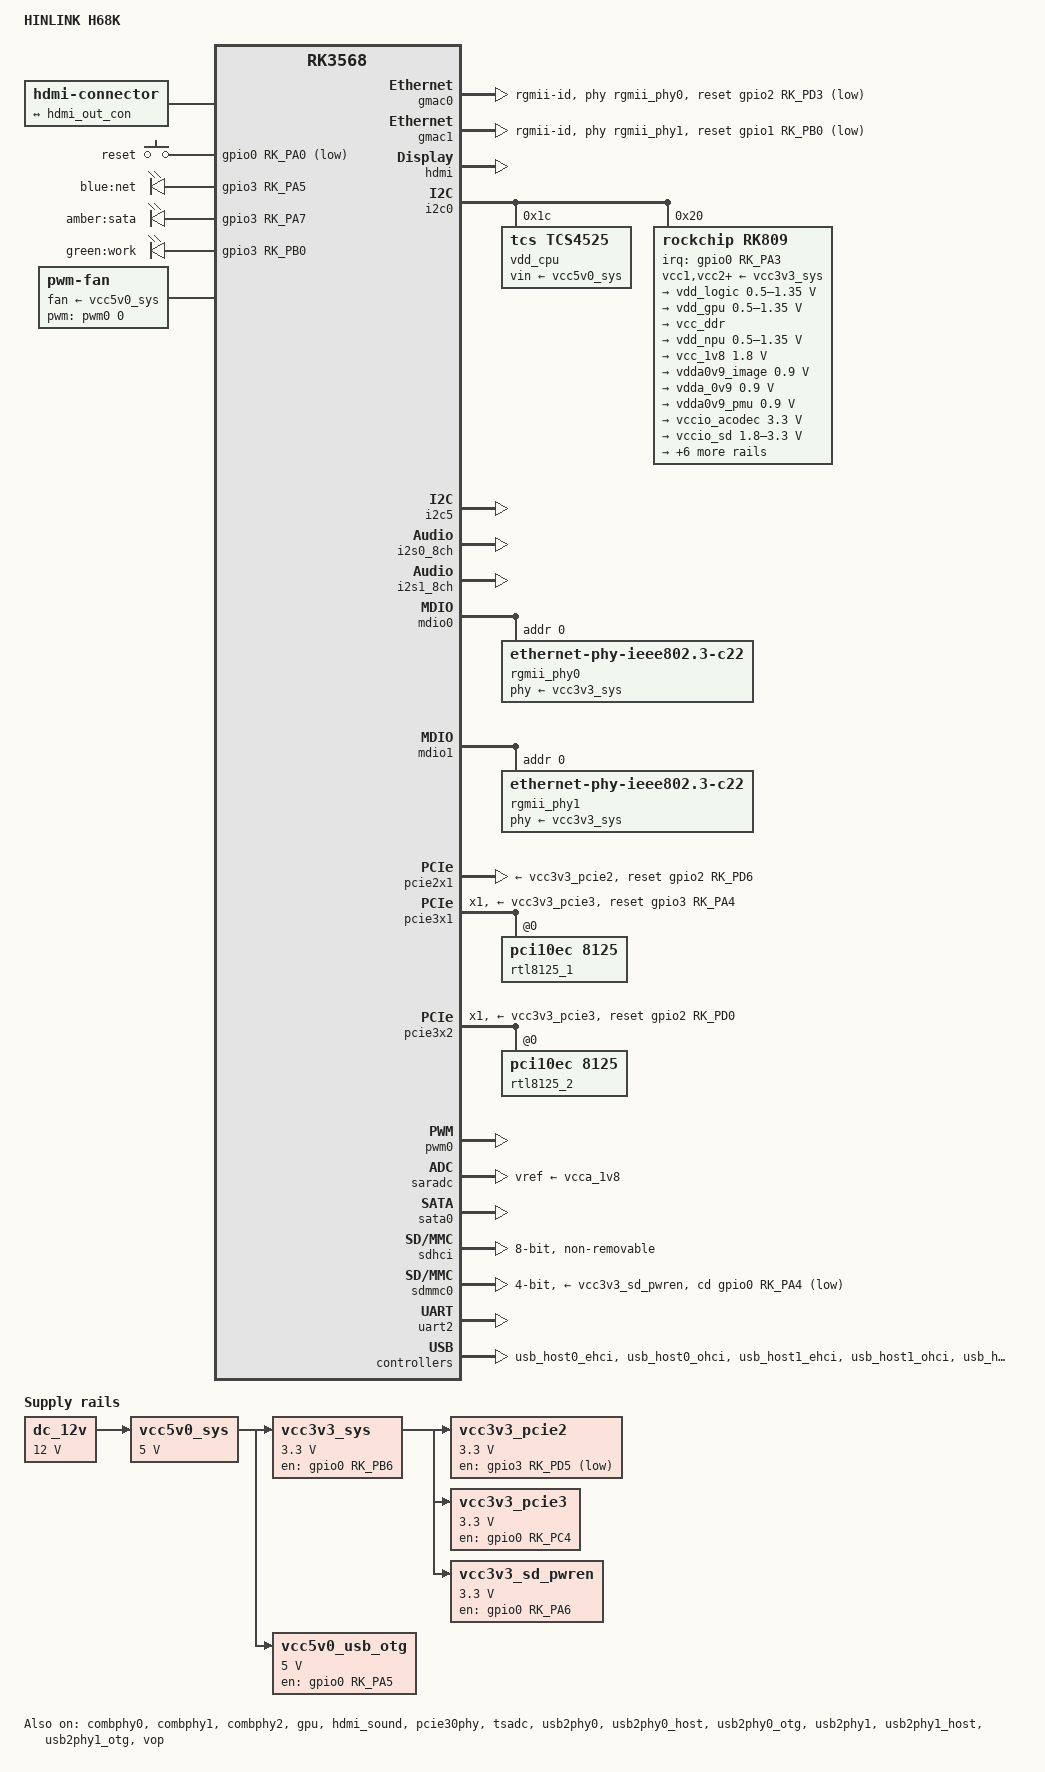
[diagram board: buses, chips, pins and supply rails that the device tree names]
// SPDX-License-Identifier: (GPL-2.0+ OR MIT)
// Copyright (c) 2022 AmadeusGhost <amadeus@jmu.edu.cn>
// Copyright (c) 2023 amazingfate <liujianfeng1994@gmail.com>

/dts-v1/;

#include <dt-bindings/gpio/gpio.h>
#include <dt-bindings/leds/common.h>
#include <dt-bindings/input/input.h>
#include <dt-bindings/pinctrl/rockchip.h>
#include <dt-bindings/soc/rockchip,vop2.h>
#include "rk3568.dtsi"

/ {
	model = "HINLINK H68K";
	compatible = "hinlink,h68k", "rockchip,rk3568";

	aliases {
		ethernet0 = &gmac0;
		ethernet1 = &gmac1;
		mmc0 = &sdhci;
		mmc1 = &sdmmc0;

		led-boot = &led_work;
		led-failsafe = &led_work;
		led-running = &led_work;
		led-upgrade = &led_work;
	};

	chosen: chosen {
		stdout-path = "serial2:1500000n8";
	};

	hdmi-con {
		compatible = "hdmi-connector";
		type = "a";

		port {
			hdmi_con_in: endpoint {
				remote-endpoint = <&hdmi_out_con>;
			};
		};
	};

	keys {
		compatible = "gpio-keys";
		pinctrl-0 = <&reset_button_pin>;
		pinctrl-names = "default";

		reset {
			label = "reset";
			gpios = <&gpio0 RK_PA0 GPIO_ACTIVE_LOW>;
			linux,code = <KEY_RESTART>;
			debounce-interval = <50>;
		};
	};

	leds {
		compatible = "gpio-leds";
		pinctrl-names = "default";
		pinctrl-0 = <&led_net_en>, <&led_sata_en>, <&led_work_en>;

		led_net: net {
			label = "blue:net";
			gpios = <&gpio3 RK_PA5 GPIO_ACTIVE_HIGH>;
		};

		led_sata: sata {
			label = "amber:sata";
			gpios = <&gpio3 RK_PA7 GPIO_ACTIVE_HIGH>;
		};

		led_work: work {
			label = "green:work";
			gpios = <&gpio3 RK_PB0 GPIO_ACTIVE_HIGH>;
		};
	};

	dc_12v: dc-12v-regulator {
		compatible = "regulator-fixed";
		regulator-name = "dc_12v";
		regulator-always-on;
		regulator-boot-on;
		regulator-min-microvolt = <12000000>;
		regulator-max-microvolt = <12000000>;
	};

	vcc5v0_sys: vcc5v0-sys-regulator {
		compatible = "regulator-fixed";
		regulator-name = "vcc5v0_sys";
		regulator-always-on;
		regulator-boot-on;
		regulator-min-microvolt = <5000000>;
		regulator-max-microvolt = <5000000>;
		vin-supply = <&dc_12v>;
	};

	vcc3v3_sys: vcc3v3-sys-regulator {
		compatible = "regulator-fixed";
		regulator-name = "vcc3v3_sys";
		regulator-always-on;
		regulator-boot-on;
		regulator-min-microvolt = <3300000>;
		regulator-max-microvolt = <3300000>;

		enable-active-high;
		gpio = <&gpio0 RK_PB6 GPIO_ACTIVE_HIGH>;
		pinctrl-names = "default";
		pinctrl-0 = <&vcc3v3_sys_en>;

		vin-supply = <&vcc5v0_sys>;
	};

	/* wifi power
	   for H68K-MAX & H69K-MAX
	 */
	vcc3v3_pcie2: vcc3v3-pcie2-regulator {
		compatible = "regulator-fixed";
		regulator-min-microvolt = <3300000>;
		regulator-max-microvolt = <3300000>;
		regulator-name = "vcc3v3_pcie2";
		regulator-boot-on;

		gpio = <&gpio3 RK_PD5 GPIO_ACTIVE_LOW>;

		pinctrl-names = "default";
		pinctrl-0 = <&vcc3v3_pcie2_en>;
		vin-supply = <&vcc3v3_sys>;
	};

	/* eth 2.5g power
	   for H66K H69K
	 */
	vcc3v3_pcie3: vcc3v3-pcie3-regulator {
		compatible = "regulator-fixed";
		regulator-min-microvolt = <3300000>;
		regulator-max-microvolt = <3300000>;
		regulator-name = "vcc3v3_pcie3";
		regulator-boot-on;

		enable-active-high;
		gpio = <&gpio0 RK_PC4 GPIO_ACTIVE_HIGH>;

		pinctrl-names = "default";
		pinctrl-0 = <&vcc3v3_pcie3_en>;
		vin-supply = <&vcc3v3_sys>;
	};

	vcc5v0_usb_otg: vcc5v0-usb-otg-regulator {
		compatible = "regulator-fixed";

		regulator-name = "vcc5v0_usb_otg";
		regulator-min-microvolt = <5000000>;
		regulator-max-microvolt = <5000000>;

		enable-active-high;
		gpio = <&gpio0 RK_PA5 GPIO_ACTIVE_HIGH>;
		pinctrl-names = "default";
		pinctrl-0 = <&vcc5v0_usb_otg_en>;

		vin-supply = <&vcc5v0_sys>;

	};

	vcc3v3_sd_pwren: vcc3v3-sd-pwren-regulator {
		compatible = "regulator-fixed";

		regulator-name = "vcc3v3_sd_pwren";
		regulator-min-microvolt = <3300000>;
		regulator-max-microvolt = <3300000>;
		regulator-boot-on;
		regulator-always-on;

		enable-active-high;
		gpio = <&gpio0 RK_PA6 GPIO_ACTIVE_HIGH>;	/*      SD_PWREN	*/
		vin-supply = <&vcc3v3_sys>;

		pinctrl-names = "default";
		pinctrl-0 = <&vcc3v3_sd_en>;
	};

	rk809-sound {
		compatible = "simple-audio-card";
		simple-audio-card,format = "i2s";
		simple-audio-card,name = "Analog RK809";
		simple-audio-card,mclk-fs = <256>;

		simple-audio-card,cpu {
			sound-dai = <&i2s1_8ch>;
		};
		simple-audio-card,codec {
			sound-dai = <&rk809>;
		};
	};

 	fan: pwm-fan {
 		compatible = "pwm-fan";
		cooling-levels = <0 127 163 255>;
 		#cooling-cells = <2>;
 		fan-supply = <&vcc5v0_sys>;
 		pwms = <&pwm0 0 50000 0>;
	};
};

&combphy0 {
	status = "okay";
};

&combphy1 {
	status = "okay";
};

&combphy2 {
	status = "okay";
};

&cpu0 {
	cpu-supply = <&vdd_cpu>;
};

&cpu1 {
	cpu-supply = <&vdd_cpu>;
};

&cpu2 {
	cpu-supply = <&vdd_cpu>;
};

&cpu3 {
	cpu-supply = <&vdd_cpu>;
};

&cpu_thermal {
	trips {
		cpu_cool: cpu_cool {
			temperature = <45000>;
			hysteresis = <2000>;
			type = "active";
		};

		cpu_warm: cpu_warm {
			temperature = <55000>;
			hysteresis = <2000>;
			type = "active";
		};

		cpu_hot: cpu_hot {
			temperature = <65000>;
			hysteresis = <2000>;
			type = "active";
		};
	};

	cooling-maps {
		map1 {
			trip = <&cpu_cool>;
			cooling-device = <&fan THERMAL_NO_LIMIT 1>;
		};

		map2 {
			trip = <&cpu_warm>;
			cooling-device = <&fan 2 THERMAL_NO_LIMIT>;
		};

		map3 {
			trip = <&cpu_hot>;
			cooling-device = <&fan 3 THERMAL_NO_LIMIT>;
		};
	};
};

&gmac0 {
	assigned-clocks = <&cru SCLK_GMAC0_RX_TX>, <&cru SCLK_GMAC0>;
	assigned-clock-parents = <&cru SCLK_GMAC0_RGMII_SPEED>;
	assigned-clock-rates = <0>, <125000000>;
	clock_in_out = "input";
	phy-mode = "rgmii-id";
	pinctrl-names = "default";
	pinctrl-0 = <&gmac0_miim
		     &gmac0_tx_bus2
		     &gmac0_rx_bus2
		     &gmac0_rgmii_clk
		     &gmac0_rgmii_bus>;
	snps,reset-gpio = <&gpio2 RK_PD3 GPIO_ACTIVE_LOW>;
	snps,reset-active-low;
	snps,reset-delays-us = <0 50000 200000>;
	tx_delay = <0x3c>;
	rx_delay = <0x2f>;
	phy-handle = <&rgmii_phy0>;
	status = "okay";
};

&gmac1 {
	assigned-clocks = <&cru SCLK_GMAC1_RX_TX>, <&cru SCLK_GMAC1>;
	assigned-clock-parents = <&cru SCLK_GMAC1_RGMII_SPEED>;
	assigned-clock-rates = <0>, <125000000>;
	clock_in_out = "input";
	phy-mode = "rgmii-id";
	pinctrl-names = "default";
	pinctrl-0 = <&gmac1m1_miim
		     &gmac1m1_tx_bus2
		     &gmac1m1_rx_bus2
		     &gmac1m1_rgmii_clk
		     &gmac1m1_rgmii_bus>;
	snps,reset-gpio = <&gpio1 RK_PB0 GPIO_ACTIVE_LOW>;
	snps,reset-active-low;
	snps,reset-delays-us = <0 50000 200000>;
	tx_delay = <0x3c>;
	rx_delay = <0x2f>;
	phy-handle = <&rgmii_phy1>;
	status = "okay";
};

&gpu {
	mali-supply = <&vdd_gpu>;
	status = "okay";
};

&hdmi {
	avdd-0v9-supply = <&vdda0v9_image>;
	avdd-1v8-supply = <&vcca1v8_image>;
	status = "okay";
};

&hdmi_in {
	hdmi_in_vp0: endpoint {
		remote-endpoint = <&vp0_out_hdmi>;
	};
};

&hdmi_out {
	hdmi_out_con: endpoint {
		remote-endpoint = <&hdmi_con_in>;
	};
};

&hdmi_sound {
	status = "okay";
};

&i2c0 {
	status = "okay";

	vdd_cpu: regulator@1c {
		compatible = "tcs,tcs4525";
		reg = <0x1c>;
		fcs,suspend-voltage-selector = <1>;
		regulator-name = "vdd_cpu";
		regulator-always-on;
		regulator-boot-on;
		regulator-min-microvolt = <800000>;
		regulator-max-microvolt = <1150000>;
		regulator-ramp-delay = <2300>;
		vin-supply = <&vcc5v0_sys>;

		regulator-state-mem {
			regulator-off-in-suspend;
		};
	};

	rk809: pmic@20 {
		compatible = "rockchip,rk809";
		reg = <0x20>;

		interrupt-parent = <&gpio0>;
		interrupts = <RK_PA3 IRQ_TYPE_LEVEL_LOW>;

		assigned-clocks = <&cru I2S1_MCLKOUT_TX>;
		assigned-clock-parents = <&cru CLK_I2S1_8CH_TX>;
		#sound-dai-cells = <0>;

		#clock-cells = <1>;
		clock-names = "mclk";
		clocks = <&cru I2S1_MCLKOUT_TX>;

		pinctrl-names = "default";
		pinctrl-0 = <&pmic_int>, <&i2s1m0_mclk>;

		rockchip,system-power-controller;
		wakeup-source;

		vcc1-supply = <&vcc3v3_sys>;
		vcc2-supply = <&vcc3v3_sys>;
		vcc3-supply = <&vcc3v3_sys>;
		vcc4-supply = <&vcc3v3_sys>;
		vcc5-supply = <&vcc3v3_sys>;
		vcc6-supply = <&vcc3v3_sys>;
		vcc7-supply = <&vcc3v3_sys>;
		vcc8-supply = <&vcc3v3_sys>;
		vcc9-supply = <&vcc3v3_sys>;

		pwrkey {
			status = "okay";
		};

		pinctrl_rk8xx: pinctrl_rk8xx {
			gpio-controller;
			#gpio-cells = <2>;

			rk817_slppin_null: rk817_slppin_null {
				pins = "gpio_slp";
				function = "pin_fun0";
			};

			rk817_slppin_slp: rk817_slppin_slp {
				pins = "gpio_slp";
				function = "pin_fun1";
			};

			rk817_slppin_pwrdn: rk817_slppin_pwrdn {
				pins = "gpio_slp";
				function = "pin_fun2";
			};

			rk817_slppin_rst: rk817_slppin_rst {
				pins = "gpio_slp";
				function = "pin_fun3";
			};
		};

		regulators {
			vdd_logic: DCDC_REG1 {
				regulator-name = "vdd_logic";
				regulator-always-on;
				regulator-boot-on;
				regulator-init-microvolt = <900000>;
				regulator-initial-mode = <0x2>;
				regulator-min-microvolt = <500000>;
				regulator-max-microvolt = <1350000>;
				regulator-ramp-delay = <6001>;

				regulator-state-mem {
					regulator-off-in-suspend;
				};
			};

			vdd_gpu: DCDC_REG2 {
				regulator-name = "vdd_gpu";
				regulator-always-on;
				regulator-init-microvolt = <900000>;
				regulator-initial-mode = <0x2>;
				regulator-min-microvolt = <500000>;
				regulator-max-microvolt = <1350000>;
				regulator-ramp-delay = <6001>;

				regulator-state-mem {
					regulator-off-in-suspend;
				};
			};

			vcc_ddr: DCDC_REG3 {
				regulator-name = "vcc_ddr";
				regulator-always-on;
				regulator-boot-on;
				regulator-initial-mode = <0x2>;

				regulator-state-mem {
					regulator-on-in-suspend;
				};
			};

			vdd_npu: DCDC_REG4 {
				regulator-name = "vdd_npu";
				regulator-init-microvolt = <900000>;
				regulator-initial-mode = <0x2>;
				regulator-min-microvolt = <500000>;
				regulator-max-microvolt = <1350000>;
				regulator-ramp-delay = <6001>;

				regulator-state-mem {
					regulator-off-in-suspend;
				};
			};

			vcc_1v8: DCDC_REG5 {
				regulator-name = "vcc_1v8";
				regulator-always-on;
				regulator-boot-on;
				regulator-min-microvolt = <1800000>;
				regulator-max-microvolt = <1800000>;

				regulator-state-mem {
					regulator-off-in-suspend;
				};
			};

			vdda0v9_image: LDO_REG1 {
				regulator-name = "vdda0v9_image";
				regulator-min-microvolt = <900000>;
				regulator-max-microvolt = <900000>;

				regulator-state-mem {
					regulator-off-in-suspend;
				};
			};

			vdda_0v9: LDO_REG2 {
				regulator-name = "vdda_0v9";
				regulator-always-on;
				regulator-boot-on;
				regulator-min-microvolt = <900000>;
				regulator-max-microvolt = <900000>;

				regulator-state-mem {
					regulator-off-in-suspend;
				};
			};

			vdda0v9_pmu: LDO_REG3 {
				regulator-name = "vdda0v9_pmu";
				regulator-always-on;
				regulator-boot-on;
				regulator-min-microvolt = <900000>;
				regulator-max-microvolt = <900000>;

				regulator-state-mem {
					regulator-on-in-suspend;
					regulator-suspend-microvolt = <900000>;
				};
			};

			vccio_acodec: LDO_REG4 {
				regulator-name = "vccio_acodec";
				regulator-always-on;
				regulator-min-microvolt = <3300000>;
				regulator-max-microvolt = <3300000>;

				regulator-state-mem {
					regulator-off-in-suspend;
				};
			};

			vccio_sd: LDO_REG5 {
				regulator-name = "vccio_sd";
				regulator-min-microvolt = <1800000>;
				regulator-max-microvolt = <3300000>;

				regulator-state-mem {
					regulator-off-in-suspend;
				};
			};

			vcc3v3_pmu: LDO_REG6 {
				regulator-name = "vcc3v3_pmu";
				regulator-always-on;
				regulator-boot-on;
				regulator-min-microvolt = <3300000>;
				regulator-max-microvolt = <3300000>;

				regulator-state-mem {
					regulator-on-in-suspend;
					regulator-suspend-microvolt = <3300000>;
				};
			};

			vcca_1v8: LDO_REG7 {
				regulator-name = "vcca_1v8";
				regulator-always-on;
				regulator-boot-on;
				regulator-min-microvolt = <1800000>;
				regulator-max-microvolt = <1800000>;

				regulator-state-mem {
					regulator-off-in-suspend;
				};
			};

			vcca1v8_pmu: LDO_REG8 {
				regulator-name = "vcca1v8_pmu";
				regulator-always-on;
				regulator-boot-on;
				regulator-min-microvolt = <1800000>;
				regulator-max-microvolt = <1800000>;

				regulator-state-mem {
					regulator-on-in-suspend;
					regulator-suspend-microvolt = <1800000>;
				};
			};

			vcca1v8_image: LDO_REG9 {
				regulator-name = "vcca1v8_image";
				regulator-min-microvolt = <1800000>;
				regulator-max-microvolt = <1800000>;

				regulator-state-mem {
					regulator-off-in-suspend;
				};
			};

			vcc_3v3: SWITCH_REG1 {
				regulator-name = "vcc_3v3";
				regulator-always-on;
				regulator-boot-on;

				regulator-state-mem {
					regulator-off-in-suspend;
				};
			};

			vcc3v3_sd: SWITCH_REG2 {
				regulator-name = "vcc3v3_sd";

				regulator-state-mem {
					regulator-off-in-suspend;
				};
			};
		};

		rk809_codec: codec {
			#sound-dai-cells = <0>;
			compatible = "rockchip,rk809-codec", "rockchip,rk817-codec";
			clocks = <&cru I2S1_MCLKOUT_TX>;
			clock-names = "mclk";
			assigned-clocks = <&cru I2S1_MCLKOUT_TX>;
			assigned-clock-parents = <&cru CLK_I2S1_8CH_TX>;
			pinctrl-names = "default";
			pinctrl-0 = <&i2s1m0_mclk>;
			hp-volume = <20>;
			spk-volume = <3>;
			mic-in-differential;
			status = "okay";
		};
	};
};

&i2c5 {
	status = "okay";
};

&i2s0_8ch {
	status = "okay";
};

&i2s1_8ch {
	rockchip,trcm-sync-tx-only;
	status = "okay";
};

&mdio0 {
	rgmii_phy0: ethernet-phy@0 {
		compatible = "ethernet-phy-ieee802.3-c22";
		phy-supply = <&vcc3v3_sys>;
		reg = <0x0>;
	};
};

&mdio1 {
	rgmii_phy1: ethernet-phy@0 {
		compatible = "ethernet-phy-ieee802.3-c22";
		phy-supply = <&vcc3v3_sys>;
		reg = <0x0>;
	};
};

&pcie2x1 {
	reset-gpios = <&gpio2 RK_PD6 GPIO_ACTIVE_HIGH>;
	vpcie3v3-supply = <&vcc3v3_pcie2>;
	status = "okay";
};

&pcie30phy {
	data-lanes = <1 2>;
	status = "okay";
};

&pcie3x1 {
	num-lanes = <1>;
	reset-gpios = <&gpio3 RK_PA4 GPIO_ACTIVE_HIGH>;
	vpcie3v3-supply = <&vcc3v3_pcie3>;
	status = "okay";

	pcie@0,0 {
		reg = <0x00100000 0 0 0 0>;
		#address-cells = <3>;
		#size-cells = <2>;

		rtl8125_1: pcie-eth@10,0 {
			compatible = "pci10ec,8125";
			reg = <0x000000 0 0 0 0>;
			realtek,led-data = <0x0200>;
		};
	};
};

&pcie3x2 {
	num-lanes = <1>;
	rockchip,init-delay-ms = <100>;
	reset-gpios = <&gpio2 RK_PD0 GPIO_ACTIVE_HIGH>;
	vpcie3v3-supply = <&vcc3v3_pcie3>;
	status = "okay";

	pcie@0,0 {
		reg = <0x00200000 0 0 0 0>;
		#address-cells = <3>;
		#size-cells = <2>;

		rtl8125_2: pcie-eth@20,0 {
			compatible = "pci10ec,8125";
			reg = <0x000000 0 0 0 0>;
			realtek,led-data = <0x0200>;
		};
	};
};

&pinctrl {
	button {
		reset_button_pin: reset-button-pin {
			rockchip,pins = <0 RK_PA0 RK_FUNC_GPIO &pcfg_pull_up>;
		};
	};

	leds {
		led_work_en: led-work-en {
			rockchip,pins = <3 RK_PB0 RK_FUNC_GPIO &pcfg_pull_none>;
		};

		led_sata_en: led-user-en {
			rockchip,pins = <3 RK_PA7 RK_FUNC_GPIO &pcfg_pull_none>;
		};

		led_net_en: led-net-en {
			rockchip,pins = <3 RK_PA5 RK_FUNC_GPIO &pcfg_pull_none>;
		};
	};

	vcc {
		vcc3v3_sys_en: vcc3v3-sys-en {
			rockchip,pins = <0 RK_PB6 RK_FUNC_GPIO &pcfg_pull_none>;
		};
	};

	pmic {
		pmic_int: pmic-int {
			rockchip,pins = <0 RK_PA3 RK_FUNC_GPIO &pcfg_pull_up>;
		};
	};

	usb {
		vcc5v0_usb_otg_en: vcc5v0-usb-otg-en {
			rockchip,pins = <0 RK_PA5 RK_FUNC_GPIO &pcfg_pull_none>;
		};
	};

	sd {
		vcc3v3_sd_en: vcc3v3-sd_en {
			rockchip,pins = <0 RK_PA6 RK_FUNC_GPIO &pcfg_pull_none>;
		};
	};

	pcie {
		vcc3v3_pcie2_en: vcc3v3_pcie2_en {
			rockchip,pins = <3 RK_PD5 RK_FUNC_GPIO &pcfg_pull_none>;
		};

		vcc3v3_pcie3_en: vcc3v3_pcie3_en {
			rockchip,pins = <0 RK_PC4 RK_FUNC_GPIO &pcfg_pull_none>;
		};
	};
};

&pmu_io_domains {
	pmuio1-supply = <&vcc3v3_pmu>;
	pmuio2-supply = <&vcc3v3_pmu>;
	vccio1-supply = <&vccio_acodec>;
	vccio2-supply = <&vcc_1v8>;
	vccio3-supply = <&vccio_sd>;
	vccio4-supply = <&vcc_1v8>;
	vccio5-supply = <&vcc_3v3>;
	vccio6-supply = <&vcc_1v8>;
	vccio7-supply = <&vcc_3v3>;
	status = "okay";
};

&pwm0 {
	status = "okay";
};

&saradc {
	vref-supply = <&vcca_1v8>;
	status = "okay";
};

&sata0 {
	status = "okay";
};

&sdhci {
	bus-width = <8>;
	max-frequency = <200000000>;
	non-removable;
	pinctrl-names = "default";
	pinctrl-0 = <&emmc_bus8 &emmc_clk &emmc_cmd &emmc_datastrobe>;
	status = "okay";
};

&sdmmc0 {
	bus-width = <4>;
	cd-gpios = <&gpio0 RK_PA4 GPIO_ACTIVE_LOW>;
	pinctrl-names = "default";
	pinctrl-0 = <&sdmmc0_bus4 &sdmmc0_clk &sdmmc0_cmd &sdmmc0_det>;

	cap-sd-highspeed;
	max-frequency = <50000000>;
	disable-wp;

	vmmc-supply = <&vcc3v3_sd_pwren>;
	vqmmc-supply = <&vccio_sd>;
	status = "okay";
};

&tsadc {
	rockchip,hw-tshut-mode = <1>;
	rockchip,hw-tshut-polarity = <0>;
	status = "okay";
};

&uart2 {
	status = "okay";
};

&usb_host0_ehci {
	status = "okay";
};

&usb_host0_ohci {
	status = "okay";
};

&usb_host0_xhci {
	status = "disabled";
};

&usb_host1_ehci {
	status = "okay";
};

&usb_host1_ohci {
	status = "okay";
};

&usb_host1_xhci {
	status = "okay";
};

&usb2phy0 {
	status = "okay";
};

&usb2phy0_host {
	phy-supply = <&vcc5v0_usb_otg>;
	status = "okay";
};

&usb2phy0_otg {
	phy-supply = <&vcc5v0_usb_otg>;
	status = "okay";
};

&usb2phy1 {
	status = "okay";
};

&usb2phy1_host {
	phy-supply = <&vcc5v0_usb_otg>;
	status = "okay";
};

&usb2phy1_otg {
	phy-supply = <&vcc5v0_usb_otg>;
	status = "okay";
};

&vop {
	assigned-clocks = <&cru DCLK_VOP0>, <&cru DCLK_VOP1>;
	assigned-clock-parents = <&pmucru PLL_HPLL>, <&cru PLL_VPLL>;
	status = "okay";
};

&vop_mmu {
	status = "okay";
};

&vp0 {
	vp0_out_hdmi: endpoint@ROCKCHIP_VOP2_EP_HDMI0 {
		reg = <ROCKCHIP_VOP2_EP_HDMI0>;
		remote-endpoint = <&hdmi_in_vp0>;
	};
};
